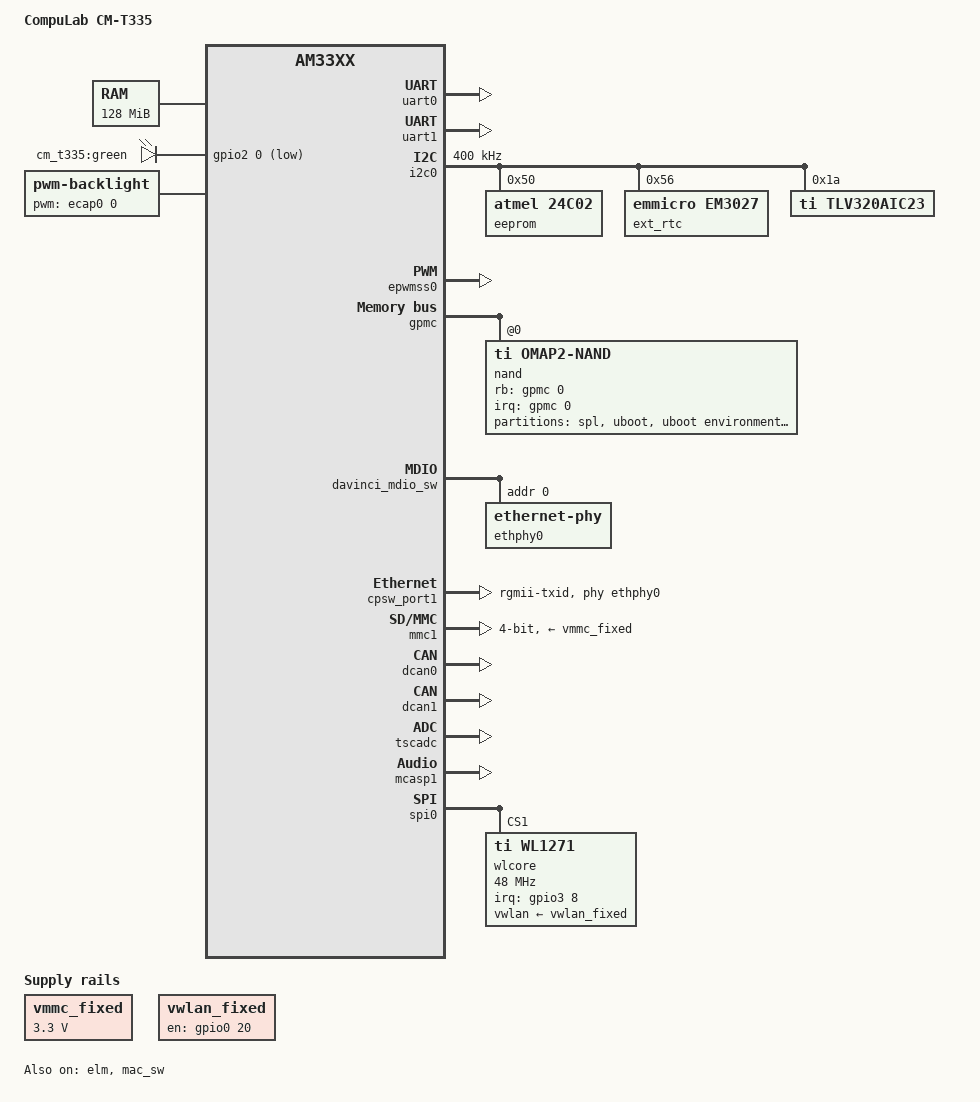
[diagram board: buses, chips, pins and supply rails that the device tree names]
// SPDX-License-Identifier: GPL-2.0-only
/*
 * am335x-cm-t335.dts - Device Tree file for Compulab CM-T335
 *
 * Copyright (C) 2014 - 2015 CompuLab Ltd. - http://www.compulab.co.il/
 */

/dts-v1/;

#include "am33xx.dtsi"
#include <dt-bindings/interrupt-controller/irq.h>

/ {
	model = "CompuLab CM-T335";
	compatible = "compulab,cm-t335", "ti,am33xx";

	memory@80000000 {
		device_type = "memory";
		reg = <0x80000000 0x8000000>;	/* 128 MB */
	};

	leds {
		compatible = "gpio-leds";
		pinctrl-names = "default";
		pinctrl-0 = <&gpio_led_pins>;
		led0 {
			label = "cm_t335:green";
			gpios = <&gpio2 0 GPIO_ACTIVE_LOW>;	/* gpio2_0 */
			linux,default-trigger = "heartbeat";
		};
	};

	/* regulator for mmc */
	vmmc_fixed: fixedregulator0 {
		compatible = "regulator-fixed";
		regulator-name = "vmmc_fixed";
		regulator-min-microvolt = <3300000>;
		regulator-max-microvolt = <3300000>;
	};

	/* Regulator for WiFi */
	vwlan_fixed: fixedregulator2 {
		compatible = "regulator-fixed";
		regulator-name = "vwlan_fixed";
		gpio = <&gpio0 20 GPIO_ACTIVE_HIGH>; /* gpio0_20 */
		enable-active-high;
	};

	backlight {
		compatible = "pwm-backlight";
		pwms = <&ecap0 0 50000 0>;
		brightness-levels = <0 51 53 56 62 75 101 152 255>;
		default-brightness-level = <8>;
	};

	sound {
		compatible = "simple-audio-card";
		simple-audio-card,name = "cm-t335";

		simple-audio-card,widgets =
			"Microphone", "Mic Jack",
			"Line", "Line In",
			"Headphone", "Headphone Jack";

		simple-audio-card,routing =
			"Headphone Jack", "LHPOUT",
			"Headphone Jack", "RHPOUT",
			"LLINEIN", "Line In",
			"RLINEIN", "Line In",
			"MICIN", "Mic Jack";

		simple-audio-card,format = "i2s";
		simple-audio-card,bitclock-master = <&sound_master>;
		simple-audio-card,frame-master = <&sound_master>;

		simple-audio-card,cpu {
			sound-dai = <&mcasp1>;
		};

		sound_master: simple-audio-card,codec {
			sound-dai = <&tlv320aic23>;
			system-clock-frequency = <12000000>;
		};
	};
};

&am33xx_pinmux {
	pinctrl-names = "default";
	pinctrl-0 = <&bluetooth_pins>;

	i2c0_pins: pinmux_i2c0_pins {
		pinctrl-single,pins = <
			AM33XX_PADCONF(AM335X_PIN_I2C0_SDA, PIN_INPUT_PULLUP, MUX_MODE0)
			AM33XX_PADCONF(AM335X_PIN_I2C0_SCL, PIN_INPUT_PULLUP, MUX_MODE0)
		>;
	};

	i2c1_pins: pinmux_i2c1_pins {
		pinctrl-single,pins = <
			/* uart0_ctsn.i2c1_sda */
			AM33XX_PADCONF(AM335X_PIN_UART0_CTSN, PIN_INPUT_PULLUP, MUX_MODE2)
			/* uart0_rtsn.i2c1_scl */
			AM33XX_PADCONF(AM335X_PIN_UART0_RTSN, PIN_INPUT_PULLUP, MUX_MODE2)
		>;
	};

	gpio_led_pins: pinmux_gpio_led_pins {
		pinctrl-single,pins = <
			/* gpmc_csn3.gpio2_0 */
			AM33XX_PADCONF(AM335X_PIN_GPMC_CSN3, PIN_OUTPUT, MUX_MODE7)
		>;
	};

	nandflash_pins: pinmux_nandflash_pins {
		pinctrl-single,pins = <
			AM33XX_PADCONF(AM335X_PIN_GPMC_AD0, PIN_INPUT_PULLUP, MUX_MODE0)
			AM33XX_PADCONF(AM335X_PIN_GPMC_AD1, PIN_INPUT_PULLUP, MUX_MODE0)
			AM33XX_PADCONF(AM335X_PIN_GPMC_AD2, PIN_INPUT_PULLUP, MUX_MODE0)
			AM33XX_PADCONF(AM335X_PIN_GPMC_AD3, PIN_INPUT_PULLUP, MUX_MODE0)
			AM33XX_PADCONF(AM335X_PIN_GPMC_AD4, PIN_INPUT_PULLUP, MUX_MODE0)
			AM33XX_PADCONF(AM335X_PIN_GPMC_AD5, PIN_INPUT_PULLUP, MUX_MODE0)
			AM33XX_PADCONF(AM335X_PIN_GPMC_AD6, PIN_INPUT_PULLUP, MUX_MODE0)
			AM33XX_PADCONF(AM335X_PIN_GPMC_AD7, PIN_INPUT_PULLUP, MUX_MODE0)
			AM33XX_PADCONF(AM335X_PIN_GPMC_WAIT0, PIN_INPUT_PULLUP, MUX_MODE0)
			/* gpmc_wpn.gpio0_31 */
			AM33XX_PADCONF(AM335X_PIN_GPMC_WPN, PIN_INPUT_PULLUP, MUX_MODE7)
			AM33XX_PADCONF(AM335X_PIN_GPMC_CSN0, PIN_OUTPUT, MUX_MODE0)
			AM33XX_PADCONF(AM335X_PIN_GPMC_ADVN_ALE, PIN_OUTPUT, MUX_MODE0)
			AM33XX_PADCONF(AM335X_PIN_GPMC_OEN_REN, PIN_OUTPUT, MUX_MODE0)
			AM33XX_PADCONF(AM335X_PIN_GPMC_WEN, PIN_OUTPUT, MUX_MODE0)
			AM33XX_PADCONF(AM335X_PIN_GPMC_BEN0_CLE, PIN_OUTPUT, MUX_MODE0)
		>;
	};

	uart0_pins: pinmux_uart0_pins {
		pinctrl-single,pins = <
			AM33XX_PADCONF(AM335X_PIN_UART0_RXD, PIN_INPUT_PULLUP, MUX_MODE0)
			AM33XX_PADCONF(AM335X_PIN_UART0_TXD, PIN_OUTPUT_PULLDOWN, MUX_MODE0)
		>;
	};

	uart1_pins: pinmux_uart1_pins {
		pinctrl-single,pins = <
			AM33XX_PADCONF(AM335X_PIN_UART1_CTSN, PIN_INPUT, MUX_MODE0)
			AM33XX_PADCONF(AM335X_PIN_UART1_RTSN, PIN_OUTPUT_PULLDOWN, MUX_MODE0)
			AM33XX_PADCONF(AM335X_PIN_UART1_RXD, PIN_INPUT_PULLUP, MUX_MODE0)
			AM33XX_PADCONF(AM335X_PIN_UART1_TXD, PIN_OUTPUT_PULLDOWN, MUX_MODE0)
		>;
	};

	dcan0_pins: pinmux_dcan0_pins {
		pinctrl-single,pins = <
			/* uart1_ctsn.dcan0_tx */
			AM33XX_PADCONF(AM335X_PIN_UART1_CTSN, PIN_OUTPUT, MUX_MODE2)
			/* uart1_rtsn.dcan0_rx */
			AM33XX_PADCONF(AM335X_PIN_UART1_RTSN, PIN_INPUT, MUX_MODE2)
		>;
	};

	dcan1_pins: pinmux_dcan1_pins {
		pinctrl-single,pins = <
			/* uart1_rxd.dcan1_tx */
			AM33XX_PADCONF(AM335X_PIN_UART1_RXD, PIN_OUTPUT, MUX_MODE2)
			/* uart1_txd.dcan1_rx */
			AM33XX_PADCONF(AM335X_PIN_UART1_TXD, PIN_INPUT, MUX_MODE2)
		>;
	};

	ecap0_pins: pinmux_ecap0_pins {
		pinctrl-single,pins = <
			AM33XX_PADCONF(AM335X_PIN_ECAP0_IN_PWM0_OUT, 0x0, MUX_MODE0)
		>;
	};

	cpsw_default: cpsw_default {
		pinctrl-single,pins = <
			/* Slave 1 */
			/* mii1_tx_en.rgmii1_tctl */
			AM33XX_PADCONF(AM335X_PIN_MII1_TX_EN, PIN_OUTPUT_PULLDOWN, MUX_MODE2)
			/* mii1_rxdv.rgmii1_rctl */
			AM33XX_PADCONF(AM335X_PIN_MII1_RX_DV, PIN_INPUT_PULLDOWN, MUX_MODE2)
			/* mii1_txd3.rgmii1_td3 */
			AM33XX_PADCONF(AM335X_PIN_MII1_TXD3, PIN_OUTPUT_PULLDOWN, MUX_MODE2)
			/* mii1_txd2.rgmii1_td2 */
			AM33XX_PADCONF(AM335X_PIN_MII1_TXD2, PIN_OUTPUT_PULLDOWN, MUX_MODE2)
			/* mii1_txd1.rgmii1_td1 */
			AM33XX_PADCONF(AM335X_PIN_MII1_TXD1, PIN_OUTPUT_PULLDOWN, MUX_MODE2)
			/* mii1_txd0.rgmii1_td0 */
			AM33XX_PADCONF(AM335X_PIN_MII1_TXD0, PIN_OUTPUT_PULLDOWN, MUX_MODE2)
			/* mii1_txclk.rgmii1_tclk */
			AM33XX_PADCONF(AM335X_PIN_MII1_TX_CLK, PIN_OUTPUT_PULLDOWN, MUX_MODE2)
			/* mii1_rxclk.rgmii1_rclk */
			AM33XX_PADCONF(AM335X_PIN_MII1_RX_CLK, PIN_INPUT_PULLDOWN, MUX_MODE2)
			/* mii1_rxd3.rgmii1_rd3 */
			AM33XX_PADCONF(AM335X_PIN_MII1_RXD3, PIN_INPUT_PULLDOWN, MUX_MODE2)
			/* mii1_rxd2.rgmii1_rd2 */
			AM33XX_PADCONF(AM335X_PIN_MII1_RXD2, PIN_INPUT_PULLDOWN, MUX_MODE2)
			/* mii1_rxd1.rgmii1_rd1 */
			AM33XX_PADCONF(AM335X_PIN_MII1_RXD1, PIN_INPUT_PULLDOWN, MUX_MODE2)
			/* mii1_rxd0.rgmii1_rd0 */
			AM33XX_PADCONF(AM335X_PIN_MII1_RXD0, PIN_INPUT_PULLDOWN, MUX_MODE2)
		>;
	};

	cpsw_sleep: cpsw_sleep {
		pinctrl-single,pins = <
			/* Slave 1 reset value */
			AM33XX_PADCONF(AM335X_PIN_MII1_TX_EN, PIN_INPUT_PULLDOWN, MUX_MODE7)
			AM33XX_PADCONF(AM335X_PIN_MII1_RX_DV, PIN_INPUT_PULLDOWN, MUX_MODE7)
			AM33XX_PADCONF(AM335X_PIN_MII1_TXD3, PIN_INPUT_PULLDOWN, MUX_MODE7)
			AM33XX_PADCONF(AM335X_PIN_MII1_TXD2, PIN_INPUT_PULLDOWN, MUX_MODE7)
			AM33XX_PADCONF(AM335X_PIN_MII1_TXD1, PIN_INPUT_PULLDOWN, MUX_MODE7)
			AM33XX_PADCONF(AM335X_PIN_MII1_TXD0, PIN_INPUT_PULLDOWN, MUX_MODE7)
			AM33XX_PADCONF(AM335X_PIN_MII1_TX_CLK, PIN_INPUT_PULLDOWN, MUX_MODE7)
			AM33XX_PADCONF(AM335X_PIN_MII1_RX_CLK, PIN_INPUT_PULLDOWN, MUX_MODE7)
			AM33XX_PADCONF(AM335X_PIN_MII1_RXD3, PIN_INPUT_PULLDOWN, MUX_MODE7)
			AM33XX_PADCONF(AM335X_PIN_MII1_RXD2, PIN_INPUT_PULLDOWN, MUX_MODE7)
			AM33XX_PADCONF(AM335X_PIN_MII1_RXD1, PIN_INPUT_PULLDOWN, MUX_MODE7)
			AM33XX_PADCONF(AM335X_PIN_MII1_RXD0, PIN_INPUT_PULLDOWN, MUX_MODE7)
		>;
	};

	davinci_mdio_default: davinci_mdio_default {
		pinctrl-single,pins = <
			AM33XX_PADCONF(AM335X_PIN_MDIO, PIN_INPUT_PULLUP | SLEWCTRL_FAST, MUX_MODE0)
			AM33XX_PADCONF(AM335X_PIN_MDC, PIN_OUTPUT_PULLUP, MUX_MODE0)
		>;
	};

	davinci_mdio_sleep: davinci_mdio_sleep {
		pinctrl-single,pins = <
			/* MDIO reset value */
			AM33XX_PADCONF(AM335X_PIN_MDIO, PIN_INPUT_PULLDOWN, MUX_MODE7)
			AM33XX_PADCONF(AM335X_PIN_MDC, PIN_INPUT_PULLDOWN, MUX_MODE7)
		>;
	};

	mmc1_pins: pinmux_mmc1_pins {
		pinctrl-single,pins = <
			AM33XX_PADCONF(AM335X_PIN_MMC0_DAT3, PIN_INPUT_PULLUP, MUX_MODE0)
			AM33XX_PADCONF(AM335X_PIN_MMC0_DAT2, PIN_INPUT_PULLUP, MUX_MODE0)
			AM33XX_PADCONF(AM335X_PIN_MMC0_DAT1, PIN_INPUT_PULLUP, MUX_MODE0)
			AM33XX_PADCONF(AM335X_PIN_MMC0_DAT0, PIN_INPUT_PULLUP, MUX_MODE0)
			AM33XX_PADCONF(AM335X_PIN_MMC0_CLK, PIN_INPUT_PULLUP, MUX_MODE0)
			AM33XX_PADCONF(AM335X_PIN_MMC0_CMD, PIN_INPUT_PULLUP, MUX_MODE0)
		>;
	};

	spi0_pins: pinmux_spi0_pins {
		pinctrl-single,pins = <
			AM33XX_PADCONF(AM335X_PIN_SPI0_SCLK, PIN_INPUT, MUX_MODE0)
			AM33XX_PADCONF(AM335X_PIN_SPI0_D0, PIN_OUTPUT_PULLUP, MUX_MODE0)
			AM33XX_PADCONF(AM335X_PIN_SPI0_D1, PIN_INPUT, MUX_MODE0)
			AM33XX_PADCONF(AM335X_PIN_SPI0_CS0, PIN_OUTPUT, MUX_MODE0)
			AM33XX_PADCONF(AM335X_PIN_SPI0_CS1, PIN_OUTPUT, MUX_MODE0)
		>;
	};

	/* wl1271 bluetooth */
	bluetooth_pins: pinmux_bluetooth_pins {
		pinctrl-single,pins = <
			/* XDMA_EVENT_INTR0.gpio0_19 - bluetooth enable */
			AM33XX_PADCONF(AM335X_PIN_XDMA_EVENT_INTR0, PIN_OUTPUT_PULLUP, MUX_MODE7)
		>;
	};

	/* TLV320AIC23B codec */
	mcasp1_pins: pinmux_mcasp1_pins {
		pinctrl-single,pins = <
			/* MII1_CRS.mcasp1_aclkx */
			AM33XX_PADCONF(AM335X_PIN_MII1_CRS, PIN_INPUT_PULLDOWN, MUX_MODE4)
			/* MII1_RX_ER.mcasp1_fsx */
			AM33XX_PADCONF(AM335X_PIN_MII1_RX_ER, PIN_INPUT_PULLDOWN, MUX_MODE4)
			/* MII1_COL.mcasp1_axr2 */
			AM33XX_PADCONF(AM335X_PIN_MII1_COL, PIN_INPUT_PULLDOWN, MUX_MODE4)
			/* RMII1_REF_CLK.mcasp1_axr3 */
			AM33XX_PADCONF(AM335X_PIN_RMII1_REF_CLK, PIN_INPUT_PULLDOWN, MUX_MODE4)
		>;
	};

	/* wl1271 WiFi */
	wifi_pins: pinmux_wifi_pins {
		pinctrl-single,pins = <
			/* EMU1.gpio3_8 - WiFi IRQ */
			AM33XX_PADCONF(AM335X_PIN_EMU1, PIN_INPUT_PULLUP, MUX_MODE7)
			/* XDMA_EVENT_INTR1.gpio0_20 - WiFi enable */
			AM33XX_PADCONF(AM335X_PIN_XDMA_EVENT_INTR1, PIN_OUTPUT, MUX_MODE7)
		>;
	};
};

&uart0 {
	pinctrl-names = "default";
	pinctrl-0 = <&uart0_pins>;

	status = "okay";
};

/* WLS1271 bluetooth */
&uart1 {
	pinctrl-names = "default";
	pinctrl-0 = <&uart1_pins>;

status = "okay";
};

&i2c0 {
	pinctrl-names = "default";
	pinctrl-0 = <&i2c0_pins>;

	status = "okay";
	clock-frequency = <400000>;
	/* CM-T335 board EEPROM */
	eeprom: 24c02@50 {
		compatible = "atmel,24c02";
		reg = <0x50>;
		pagesize = <16>;
	};
	/* Real Time Clock */
	ext_rtc: em3027@56 {
		compatible = "emmicro,em3027";
		reg = <0x56>;
	};
	/* Audio codec */
	tlv320aic23: codec@1a {
		compatible = "ti,tlv320aic23";
		reg = <0x1a>;
		#sound-dai-cells = <0>;
		status = "okay";
	};
};

&epwmss0 {
	status = "okay";

	ecap0: pwm@100 {
		status = "okay";
		pinctrl-names = "default";
		pinctrl-0 = <&ecap0_pins>;
	};
};

&gpmc {
	status = "okay";
	pinctrl-names = "default";
	pinctrl-0 = <&nandflash_pins>;
	ranges = <0 0 0x08000000 0x10000000>;	/* CS0: NAND */
	nand@0,0 {
		compatible = "ti,omap2-nand";
		reg = <0 0 4>; /* CS0, offset 0, IO size 4 */
		interrupt-parent = <&gpmc>;
		interrupts = <0 IRQ_TYPE_NONE>, /* fifoevent */
			     <1 IRQ_TYPE_NONE>;	/* termcount */
		rb-gpios = <&gpmc 0 GPIO_ACTIVE_HIGH>; /* gpmc_wait0 */
		ti,nand-ecc-opt = "bch8";
		ti,elm-id = <&elm>;
		nand-bus-width = <8>;
		gpmc,device-width = <1>;
		gpmc,sync-clk-ps = <0>;
		gpmc,cs-on-ns = <0>;
		gpmc,cs-rd-off-ns = <44>;
		gpmc,cs-wr-off-ns = <44>;
		gpmc,adv-on-ns = <6>;
		gpmc,adv-rd-off-ns = <34>;
		gpmc,adv-wr-off-ns = <44>;
		gpmc,we-on-ns = <0>;
		gpmc,we-off-ns = <40>;
		gpmc,oe-on-ns = <0>;
		gpmc,oe-off-ns = <54>;
		gpmc,access-ns = <64>;
		gpmc,rd-cycle-ns = <82>;
		gpmc,wr-cycle-ns = <82>;
		gpmc,bus-turnaround-ns = <0>;
		gpmc,cycle2cycle-delay-ns = <0>;
		gpmc,clk-activation-ns = <0>;
		gpmc,wr-access-ns = <40>;
		gpmc,wr-data-mux-bus-ns = <0>;
		/* MTD partition table */
		#address-cells = <1>;
		#size-cells = <1>;
		partition@0 {
			label = "spl";
			reg = <0x00000000 0x00200000>;
		};
		partition@1 {
			label = "uboot";
			reg = <0x00200000 0x00100000>;
		};
		partition@2 {
			label = "uboot environment";
			reg = <0x00300000 0x00100000>;
		};
		partition@3 {
			label = "dtb";
			reg = <0x00400000 0x00100000>;
		};
		partition@4 {
			label = "splash";
			reg = <0x00500000 0x00400000>;
		};
		partition@5 {
			label = "linux";
			reg = <0x00900000 0x00600000>;
		};
		partition@6 {
			label = "rootfs";
			reg = <0x00F00000 0>;
		};
	};
};

&elm {
	status = "okay";
};

&mac_sw {
	pinctrl-names = "default", "sleep";
	pinctrl-0 = <&cpsw_default>;
	pinctrl-1 = <&cpsw_sleep>;
	status = "okay";
};

&davinci_mdio_sw {
	pinctrl-names = "default", "sleep";
	pinctrl-0 = <&davinci_mdio_default>;
	pinctrl-1 = <&davinci_mdio_sleep>;

	ethphy0: ethernet-phy@0 {
		reg = <0>;
	};
};

&cpsw_port1 {
	phy-handle = <&ethphy0>;
	phy-mode = "rgmii-txid";
	ti,dual-emac-pvid = <1>;
};

&cpsw_port2 {
	status = "disabled";
};

&mmc1 {
	status = "okay";
	vmmc-supply = <&vmmc_fixed>;
	bus-width = <4>;
	pinctrl-names = "default";
	pinctrl-0 = <&mmc1_pins>;
};

&dcan0 {
	status = "okay";
	pinctrl-names = "default";
	pinctrl-0 = <&dcan0_pins>;
};

&dcan1 {
	status = "okay";
	pinctrl-names = "default";
	pinctrl-0 = <&dcan1_pins>;
};

/* Touschscreen and analog digital converter */
&tscadc {
	status = "okay";
	tsc {
		ti,wires = <4>;
		ti,x-plate-resistance = <200>;
		ti,coordinate-readouts = <5>;
		ti,wire-config = <0x01 0x10 0x23 0x32>;
		ti,charge-delay = <0x400>;
	};

	adc {
		ti,adc-channels = <4 5 6 7>;
	};
};

/* CPU audio */
&mcasp1 {
		pinctrl-names = "default";
		pinctrl-0 = <&mcasp1_pins>;

		op-mode = <0>;          /* MCASP_IIS_MODE */
		tdm-slots = <2>;
		/* 16 serializers */
		num-serializer = <16>;
		serial-dir = <  /* 0: INACTIVE, 1: TX, 2: RX */
			0 0 2 1 0 0 0 0 0 0 0 0 0 0 0 0
		>;
		tx-num-evt = <1>;
		rx-num-evt = <1>;

		#sound-dai-cells = <0>;
		status = "okay";
};

&spi0 {
	status = "okay";
	pinctrl-names = "default";
	pinctrl-0 = <&spi0_pins>;
	ti,pindir-d0-out-d1-in;
	/* WLS1271 WiFi */
	wlcore: wlcore@1 {
		compatible = "ti,wl1271";
		pinctrl-names = "default";
		pinctrl-0 = <&wifi_pins>;
		reg = <1>;
		spi-max-frequency = <48000000>;
		clock-xtal;
		ref-clock-frequency = <38400000>;
		interrupt-parent = <&gpio3>;
		interrupts = <8 IRQ_TYPE_LEVEL_HIGH>;
		vwlan-supply = <&vwlan_fixed>;
	};
};
